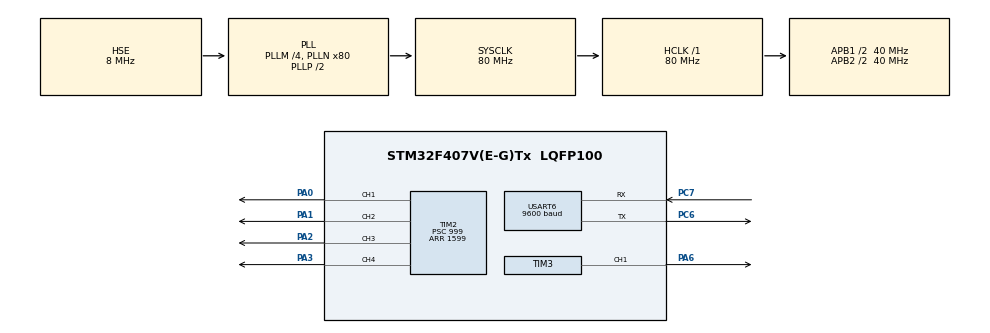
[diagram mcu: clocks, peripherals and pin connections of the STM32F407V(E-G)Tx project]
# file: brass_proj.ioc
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Mcu.Family=STM32F4
Mcu.Name=STM32F407V(E-G)Tx
Mcu.Package=LQFP100
NVIC.PriorityGroup=NVIC_PRIORITYGROUP_0
PA0-WKUP.Signal=S_TIM2_CH1_ETR
PA1.Signal=S_TIM2_CH2
PA2.Signal=S_TIM2_CH3
PA3.Signal=S_TIM2_CH4
PA6.Signal=S_TIM3_CH1
PC6.Mode=Asynchronous
PC6.Signal=USART6_TX
PC7.Mode=Asynchronous
PC7.Signal=USART6_RX
PH0-OSC_IN.Mode=HSE-External-Oscillator
PH0-OSC_IN.Signal=RCC_OSC_IN
PH1-OSC_OUT.Mode=HSE-External-Oscillator
PH1-OSC_OUT.Signal=RCC_OSC_OUT
ProjectManager.HeapSize=0x200
ProjectManager.StackSize=0x400
ProjectManager.TargetToolchain=STM32CubeIDE
RCC.48MHZClocksFreq_Value=22857142.85714286
RCC.AHBFreq_Value=80000000
RCC.APB1CLKDivider=RCC_HCLK_DIV2
RCC.APB1Freq_Value=40000000
RCC.APB1TimFreq_Value=80000000
RCC.APB2CLKDivider=RCC_HCLK_DIV2
RCC.APB2Freq_Value=40000000
RCC.APB2TimFreq_Value=80000000
RCC.CortexFreq_Value=80000000
RCC.HCLKFreq_Value=80000000
RCC.HSE_VALUE=8000000
RCC.HSI_VALUE=16000000
RCC.LSE_VALUE=32768
RCC.PLLM=4
RCC.PLLN=80
RCC.PLLQ=7
RCC.PLLSourceVirtual=RCC_PLLSOURCE_HSE
RCC.SYSCLKFreq_VALUE=80000000
RCC.SYSCLKSource=RCC_SYSCLKSOURCE_PLLCLK
RCC.VCOOutputFreq_Value=160000000
SH.S_TIM2_CH1_ETR.0=TIM2_CH1,PWM Generation1 CH1
SH.S_TIM2_CH2.0=TIM2_CH2,PWM Generation2 CH2
SH.S_TIM2_CH3.0=TIM2_CH3,PWM Generation3 CH3
SH.S_TIM2_CH4.0=TIM2_CH4,PWM Generation4 CH4
SH.S_TIM3_CH1.0=TIM3_CH1,PWM Generation1 CH1
TIM2.Channel-PWM\ Generation1\ CH1=TIM_CHANNEL_1
TIM2.Channel-PWM\ Generation2\ CH2=TIM_CHANNEL_2
TIM2.Channel-PWM\ Generation3\ CH3=TIM_CHANNEL_3
TIM2.Channel-PWM\ Generation4\ CH4=TIM_CHANNEL_4
TIM2.Period=1599
TIM2.Prescaler=999
TIM3.Channel-PWM\ Generation1\ CH1=TIM_CHANNEL_1
TIM3.Period=1599
TIM3.Prescaler=999
USART6.BaudRate=9600
USART6.StopBits=STOPBITS_1
USART6.VirtualMode=VM_ASYNC
VP_TIM2_VS_ClockSourceINT.Mode=Internal
VP_TIM3_VS_ClockSourceINT.Mode=Internal
board=STM32F407G-DISC1

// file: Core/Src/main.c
/* USER CODE BEGIN Header */
/**
  ******************************************************************************
  * @file           : main.c
  * @brief          : Main program body
  ******************************************************************************
  * @attention
  *
  * Copyright (c) 2024 STMicroelectronics.
  * All rights reserved.
  *
  * This software is licensed under terms that can be found in the LICENSE file
  * in the root directory of this software component.
  * If no LICENSE file comes with this software, it is provided AS-IS.
  *
  ******************************************************************************
  */
/* USER CODE END Header */
#include "main.h"

TIM_HandleTypeDef htim2;
TIM_HandleTypeDef htim3;

UART_HandleTypeDef huart6;

void SystemClock_Config(void);
static void MX_GPIO_Init(void);
static void MX_TIM2_Init(void);
static void MX_TIM3_Init(void);
static void MX_USART6_UART_Init(void);

int main(void)
{
  /* USER CODE BEGIN 1 */
	uint8_t rxdata =0 ;
	int i1=25;
	int i2=110;
	int i3=130;
	int i4=75;
	int i5=50;
  /* USER CODE END 1 */

  /* MCU Configuration--------------------------------------------------------*/

  /* Reset of all peripherals, Initializes the Flash interface and the Systick. */
  HAL_Init();

  /* Configure the system clock */
  SystemClock_Config();

  /* Initialize all configured peripherals */
  MX_GPIO_Init();
  MX_TIM2_Init();
  MX_TIM3_Init();
  MX_USART6_UART_Init();
  /* USER CODE BEGIN 2 */
  HAL_TIM_PWM_Start(&htim2, TIM_CHANNEL_1);
  HAL_TIM_PWM_Start(&htim2, TIM_CHANNEL_2);
  HAL_TIM_PWM_Start(&htim2, TIM_CHANNEL_3);
  HAL_TIM_PWM_Start(&htim2, TIM_CHANNEL_4);
  HAL_TIM_PWM_Start(&htim3, TIM_CHANNEL_1);
  __HAL_TIM_SET_COMPARE(&htim2,TIM_CHANNEL_1, 25);
  __HAL_TIM_SET_COMPARE(&htim2,TIM_CHANNEL_2, 110);
  __HAL_TIM_SET_COMPARE(&htim2,TIM_CHANNEL_3, 130);
  __HAL_TIM_SET_COMPARE(&htim2,TIM_CHANNEL_4, 75);
  __HAL_TIM_SET_COMPARE(&htim3,TIM_CHANNEL_1, 50);

  /* USER CODE END 2 */

  /* Infinite loop */
  while (1)
  {

    /* USER CODE BEGIN 3 */
	  HAL_UART_Receive(&huart6,&rxdata, sizeof(rxdata), 100) ;

	  //*****Incrementation de servo 1 *******
	  if ( rxdata == 'a' && i1<= 150)
	     {
	  		 i1=i1+10 ;
	  		 __HAL_TIM_SET_COMPARE(&htim2,TIM_CHANNEL_1, i1);
	  	 }
	  //*****Décrementation du servo 1 *******
	  else if ( rxdata == 'b' && i1>= 25)
	 	     {
	 	  		 i1=i1-10 ;
	 	  	 __HAL_TIM_SET_COMPARE(&htim2,TIM_CHANNEL_1, i1);
	 	  	 }
	  //*****Incrementation de servo 2 *******
	  else if ( rxdata == 'c' && i2<= 150)
	  	 	     {
	  	 	  		 i2=i2+10 ;
	  	 	  	 __HAL_TIM_SET_COMPARE(&htim2,TIM_CHANNEL_2, i2);
	  	 	  	 }
	  //*****Décrementation de servo 2 *******
	  else if ( rxdata == 'd' && i2>= 25)
	  	  	 	 {
	  	  	 	  	 i2=i2-10 ;
	  	  	 	 __HAL_TIM_SET_COMPARE(&htim2,TIM_CHANNEL_2, i2);
	  	  	 	 }
	  //*****Incrementation de servo 3*******
	  else if ( rxdata == 'e' && i3<= 150)
	 	  	 	 {
	 	  	 	  	 i3=i3+10 ;
	 	  	 	 __HAL_TIM_SET_COMPARE(&htim2,TIM_CHANNEL_3, i3);
	 	  	 	 }
	 	  //*****Décrementation de servo 3 *******
	  else if ( rxdata == 'f' && i3>= 25)
	 	  	  	 {
	 	  	  	 	 i3=i3-10 ;
	 	  	  	 __HAL_TIM_SET_COMPARE(&htim2,TIM_CHANNEL_3, i3);
	 	  	  	 }
	     //*****Incrementation de servo 4 *******
	  else if ( rxdata == 'g' && i4<= 150)
	 	  	  	 {
	 	  	  	 	 i4=i4+10 ;
	 	  	  	 __HAL_TIM_SET_COMPARE(&htim2,TIM_CHANNEL_4, i4);
	 	  	  	 }
	    //*****Décrementation de servo 4 *******
	  else if ( rxdata == 'h' && i4>= 25)
	 	  	  	 {
	 	  	  	 	 i4=i4-10 ;
	 	  	  	 __HAL_TIM_SET_COMPARE(&htim2,TIM_CHANNEL_4, i4);
	 	  	  	 }
	     //*****Incrementation de servo 5 *******
	  else if ( rxdata == 'i' && i5<150)
	 	  	  	 {
	 	  	  	 	 i5=i5+10 ;
	 	  	  	 __HAL_TIM_SET_COMPARE(&htim3,TIM_CHANNEL_1, i5);
	 	  	  	 }
	    //*****Décrementation de servo 5 *******
	  else if ( rxdata == 'j' && i5>= 35)
	 	  	  	 {
	 	  	  	 	 i5=i5-10 ;
	 	  	  	 __HAL_TIM_SET_COMPARE(&htim3,TIM_CHANNEL_1, i5);
	 	  	  	 }
  /* USER CODE END 3 */
}}

void SystemClock_Config(void)
{
  RCC_OscInitTypeDef RCC_OscInitStruct = {0};
  RCC_ClkInitTypeDef RCC_ClkInitStruct = {0};

  /** Configure the main internal regulator output voltage
  */
  __HAL_RCC_PWR_CLK_ENABLE();
  __HAL_PWR_VOLTAGESCALING_CONFIG(PWR_REGULATOR_VOLTAGE_SCALE1);

  /** Initializes the RCC Oscillators according to the specified parameters
  * in the RCC_OscInitTypeDef structure.
  */
  RCC_OscInitStruct.OscillatorType = RCC_OSCILLATORTYPE_HSE;
  RCC_OscInitStruct.HSEState = RCC_HSE_ON;
  RCC_OscInitStruct.PLL.PLLState = RCC_PLL_ON;
  RCC_OscInitStruct.PLL.PLLSource = RCC_PLLSOURCE_HSE;
  RCC_OscInitStruct.PLL.PLLM = 4;
  RCC_OscInitStruct.PLL.PLLN = 80;
  RCC_OscInitStruct.PLL.PLLP = RCC_PLLP_DIV2;
  RCC_OscInitStruct.PLL.PLLQ = 7;
  if (HAL_RCC_OscConfig(&RCC_OscInitStruct) != HAL_OK)
  {
    Error_Handler();
  }

  /** Initializes the CPU, AHB and APB buses clocks
  */
  RCC_ClkInitStruct.ClockType = RCC_CLOCKTYPE_HCLK|RCC_CLOCKTYPE_SYSCLK
                              |RCC_CLOCKTYPE_PCLK1|RCC_CLOCKTYPE_PCLK2;
  RCC_ClkInitStruct.SYSCLKSource = RCC_SYSCLKSOURCE_PLLCLK;
  RCC_ClkInitStruct.AHBCLKDivider = RCC_SYSCLK_DIV1;
  RCC_ClkInitStruct.APB1CLKDivider = RCC_HCLK_DIV2;
  RCC_ClkInitStruct.APB2CLKDivider = RCC_HCLK_DIV2;

  if (HAL_RCC_ClockConfig(&RCC_ClkInitStruct, FLASH_LATENCY_2) != HAL_OK)
  {
    Error_Handler();
  }
}

static void MX_TIM2_Init(void)
{

  TIM_ClockConfigTypeDef sClockSourceConfig = {0};
  TIM_MasterConfigTypeDef sMasterConfig = {0};
  TIM_OC_InitTypeDef sConfigOC = {0};

  htim2.Instance = TIM2;
  htim2.Init.Prescaler = 999;
  htim2.Init.CounterMode = TIM_COUNTERMODE_UP;
  htim2.Init.Period = 1599;
  htim2.Init.ClockDivision = TIM_CLOCKDIVISION_DIV1;
  htim2.Init.AutoReloadPreload = TIM_AUTORELOAD_PRELOAD_DISABLE;
  if (HAL_TIM_Base_Init(&htim2) != HAL_OK)
  {
    Error_Handler();
  }
  sClockSourceConfig.ClockSource = TIM_CLOCKSOURCE_INTERNAL;
  if (HAL_TIM_ConfigClockSource(&htim2, &sClockSourceConfig) != HAL_OK)
  {
    Error_Handler();
  }
  if (HAL_TIM_PWM_Init(&htim2) != HAL_OK)
  {
    Error_Handler();
  }
  sMasterConfig.MasterOutputTrigger = TIM_TRGO_RESET;
  sMasterConfig.MasterSlaveMode = TIM_MASTERSLAVEMODE_DISABLE;
  if (HAL_TIMEx_MasterConfigSynchronization(&htim2, &sMasterConfig) != HAL_OK)
  {
    Error_Handler();
  }
  sConfigOC.OCMode = TIM_OCMODE_PWM1;
  sConfigOC.Pulse = 0;
  sConfigOC.OCPolarity = TIM_OCPOLARITY_HIGH;
  sConfigOC.OCFastMode = TIM_OCFAST_DISABLE;
  if (HAL_TIM_PWM_ConfigChannel(&htim2, &sConfigOC, TIM_CHANNEL_1) != HAL_OK)
  {
    Error_Handler();
  }
  if (HAL_TIM_PWM_ConfigChannel(&htim2, &sConfigOC, TIM_CHANNEL_2) != HAL_OK)
  {
    Error_Handler();
  }
  if (HAL_TIM_PWM_ConfigChannel(&htim2, &sConfigOC, TIM_CHANNEL_3) != HAL_OK)
  {
    Error_Handler();
  }
  if (HAL_TIM_PWM_ConfigChannel(&htim2, &sConfigOC, TIM_CHANNEL_4) != HAL_OK)
  {
    Error_Handler();
  }
  HAL_TIM_MspPostInit(&htim2);

}

static void MX_TIM3_Init(void)
{

  TIM_ClockConfigTypeDef sClockSourceConfig = {0};
  TIM_MasterConfigTypeDef sMasterConfig = {0};
  TIM_OC_InitTypeDef sConfigOC = {0};

  htim3.Instance = TIM3;
  htim3.Init.Prescaler = 999;
  htim3.Init.CounterMode = TIM_COUNTERMODE_UP;
  htim3.Init.Period = 1599;
  htim3.Init.ClockDivision = TIM_CLOCKDIVISION_DIV1;
  htim3.Init.AutoReloadPreload = TIM_AUTORELOAD_PRELOAD_DISABLE;
  if (HAL_TIM_Base_Init(&htim3) != HAL_OK)
  {
    Error_Handler();
  }
  sClockSourceConfig.ClockSource = TIM_CLOCKSOURCE_INTERNAL;
  if (HAL_TIM_ConfigClockSource(&htim3, &sClockSourceConfig) != HAL_OK)
  {
    Error_Handler();
  }
  if (HAL_TIM_PWM_Init(&htim3) != HAL_OK)
  {
    Error_Handler();
  }
  sMasterConfig.MasterOutputTrigger = TIM_TRGO_RESET;
  sMasterConfig.MasterSlaveMode = TIM_MASTERSLAVEMODE_DISABLE;
  if (HAL_TIMEx_MasterConfigSynchronization(&htim3, &sMasterConfig) != HAL_OK)
  {
    Error_Handler();
  }
  sConfigOC.OCMode = TIM_OCMODE_PWM1;
  sConfigOC.Pulse = 0;
  sConfigOC.OCPolarity = TIM_OCPOLARITY_HIGH;
  sConfigOC.OCFastMode = TIM_OCFAST_DISABLE;
  if (HAL_TIM_PWM_ConfigChannel(&htim3, &sConfigOC, TIM_CHANNEL_1) != HAL_OK)
  {
    Error_Handler();
  }
  HAL_TIM_MspPostInit(&htim3);

}

static void MX_USART6_UART_Init(void)
{

  huart6.Instance = USART6;
  huart6.Init.BaudRate = 9600;
  huart6.Init.WordLength = UART_WORDLENGTH_8B;
  huart6.Init.StopBits = UART_STOPBITS_1;
  huart6.Init.Parity = UART_PARITY_NONE;
  huart6.Init.Mode = UART_MODE_TX_RX;
  huart6.Init.HwFlowCtl = UART_HWCONTROL_NONE;
  huart6.Init.OverSampling = UART_OVERSAMPLING_16;
  if (HAL_UART_Init(&huart6) != HAL_OK)
  {
    Error_Handler();
  }

}

static void MX_GPIO_Init(void)
{

  /* GPIO Ports Clock Enable */
  __HAL_RCC_GPIOH_CLK_ENABLE();
  __HAL_RCC_GPIOA_CLK_ENABLE();
  __HAL_RCC_GPIOC_CLK_ENABLE();

}

void Error_Handler(void)
{
  __disable_irq();
  while (1)
  {
  }
}
